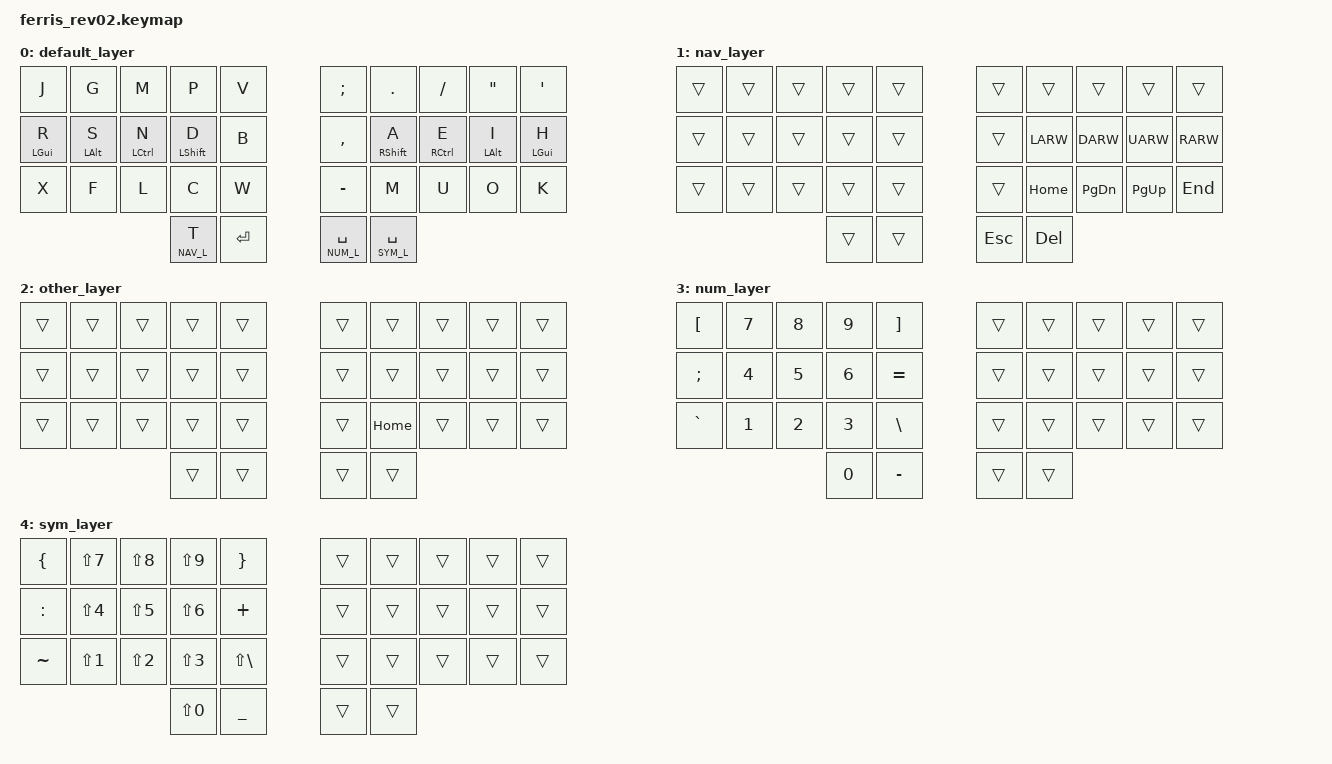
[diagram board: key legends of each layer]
/*
 * Copyright (c) 2020 The ZMK Contributors
 *
 * SPDX-License-Identifier: MIT
 */

#include <behaviors.dtsi>
#include <dt-bindings/zmk/keys.h>
#include <dt-bindings/zmk/bt.h>

#define NAV_L 1
#define OTHER_L 2
#define NUM_L 3
#define SYM_L 4


// used from combos ;)
// 0  1   2  3  4    5  6  7  8  9
// 10 11 12 13 14   15 16 17 18 19
// 20 21 22 23 24   25 26 27 28 29
//          30 31   32 33
//

// mad-tap tapping term for home row mods!?
&mt {
    tapping-term-ms = <200>;
};

// Using layer taps on thumbs, having quick tap as well helps w/ repeating space/backspace
&lt { quick_tap_ms = <200>; };

/ {
    behaviors {
        hm: homerow_mods {
            compatible = "zmk,behavior-hold-tap";
            label = "homerow mods";
            #binding-cells = <2>;
            tapping_term_ms = <200>;
            flavor = "tap-preferred";
            bindings = <&kp>, <&kp>;
        };
    };

   combos {
        compatible = "zmk,combos";
        combo_q {
            timeout-ms = <50>;
            key-positions = <26 29>;
            bindings = <&kp ESC>;
        };

        combo_z {
            timeout-ms = <50>;
            key-positions = <20 23>;
            bindings = <&kp ESC>;
        };
    };

    keymap {
        compatible = "zmk,keymap";

       
        default_layer {
            bindings = <
                &kp J      &kp G      &kp M       &kp P          &kp V         &kp SEMI         &kp DOT        &kp SLASH   &kp DQT    &kp SQT
                &hm LGUI R &hm LALT S &hm LCTRL N &hm LSHFT D    &kp B         &kp COMMA        &hm RSHFT A    &hm RCTRL E &hm LALT I &hm LGUI H
                &kp X      &kp F      &kp L       &kp C          &kp W         &kp MINUS        &kp M          &kp U       &kp O      &kp K
                                                  &lt NAV_L T    &kp ENTER     &lt NUM_L SPACE  &lt SYM_L SPC
            >;
        };

        nav_layer {
            bindings = <
                &trans     &trans     &trans      &trans          &trans       &trans           &trans         &trans      &trans     &trans
                &trans     &trans     &trans      &trans          &trans       &trans           &kp LARW       &kp DARW    &kp UARW   &kp RARW
                &trans     &trans     &trans      &trans          &trans       &trans           &kp HOME       &kp PG_DN   &kp PG_UP  &kp END
                                                  &trans          &trans       &kp ESC          &kp DEL
            >;
        };

        other_layer {
            bindings = <
                &trans     &trans     &trans      &trans          &trans       &trans           &trans         &trans      &trans     &trans
                &trans     &trans     &trans      &trans          &trans       &trans           &trans         &trans      &trans     &trans
                &trans     &trans     &trans      &trans          &trans       &trans           &kp HOME       &trans      &trans     &trans
                                                  &trans          &trans       &trans           &trans
            >;
        };

        num_layer {
            bindings = <
                &kp LBKT   &kp N7     &kp N8      &kp N9          &kp RBKT      &trans          &trans         &trans      &trans     &trans
                &kp SEMI   &kp N4     &kp N5      &kp N6          &kp EQUAL     &trans          &trans         &trans      &trans     &trans
                &kp GRAVE  &kp N1     &kp N2      &kp N3          &kp BSLH      &trans          &trans         &trans      &trans     &trans
                                                  &kp N0          &kp MINUS     &trans          &trans
            >;
        };

        sym_layer {
            bindings = <
                &kp LBRC     &kp LS(N7)  &kp LS(N8)  &kp LS(N9) &kp RBRC       &trans &trans   &trans    &trans    &trans
                &kp COLON     &kp LS(N4)  &kp LS(N5)  &kp LS(N6) &kp PLUS       &trans &trans   &trans    &trans    &trans
                &kp TILDE     &kp LS(N1)  &kp LS(N2)  &kp LS(N3) &kp LS(BSLH)       &trans &trans   &trans    &trans    &trans
                                                   &kp LS(N0) &kp UNDER   &trans &trans
            >;
        };
    };
};
